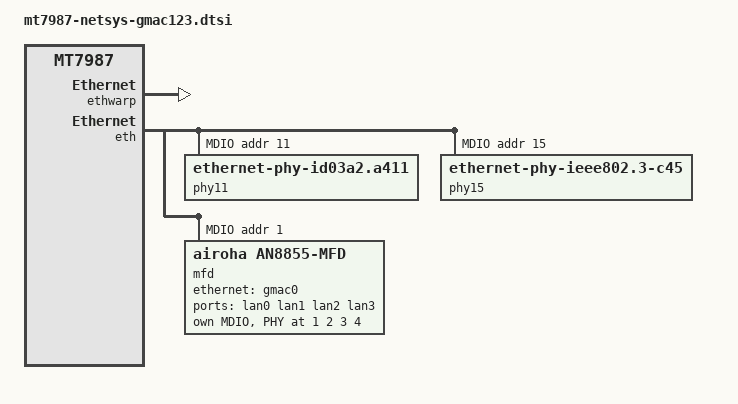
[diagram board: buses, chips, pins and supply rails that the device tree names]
// SPDX-License-Identifier: (GPL-2.0 OR MIT)

#include <dt-bindings/interrupt-controller/irq.h>
#include <dt-bindings/interrupt-controller/arm-gic.h>
#include <dt-bindings/phy/phy.h>
#include <dt-bindings/reset/ti-syscon.h>
#include <dt-bindings/clock/mediatek,mt7987-clk.h>
#include <dt-bindings/pinctrl/mt65xx.h>

&netsys {
	ethwarp: syscon@15031000 {
		compatible = "mediatek,mt7988-ethwarp", "syscon";
		reg = <0 0x15031000 0 0x1000>;
		#clock-cells = <1>;
	};

	eth: ethernet@15100000 {
		compatible = "mediatek,mt7987-eth";
		reg = <0 0x15100000 0 0x80000>,
		      <0 0x15400000 0 0x20000>;
		interrupts = <GIC_SPI 189 IRQ_TYPE_LEVEL_HIGH>,
			     <GIC_SPI 190 IRQ_TYPE_LEVEL_HIGH>,
			     <GIC_SPI 191 IRQ_TYPE_LEVEL_HIGH>,
			     <GIC_SPI 192 IRQ_TYPE_LEVEL_HIGH>,
			     <GIC_SPI 196 IRQ_TYPE_LEVEL_HIGH>,
			     <GIC_SPI 197 IRQ_TYPE_LEVEL_HIGH>,
			     <GIC_SPI 198 IRQ_TYPE_LEVEL_HIGH>,
			     <GIC_SPI 199 IRQ_TYPE_LEVEL_HIGH>;
		clocks = <&ethsys CLK_ETHDMA_FE_EN>,
			 <&ethsys CLK_ETHDMA_GP2_EN>,
			 <&ethsys CLK_ETHDMA_GP1_EN>,
			 <&ethsys CLK_ETHDMA_GP3_EN>,
			 <&sgmiisys0 CLK_SGM0_TX_EN>,
			 <&sgmiisys0 CLK_SGM0_RX_EN>,
			 <&sgmiisys1 CLK_SGM1_TX_EN>,
			 <&sgmiisys1 CLK_SGM1_RX_EN>,
			 <&topckgen CLK_TOP_SGM_0_SEL>,
			 <&topckgen CLK_TOP_SGM_1_SEL>,
			 <&topckgen CLK_TOP_ETH_GMII_SEL>,
			 <&topckgen CLK_TOP_ETH_REFCK_50M_SEL>,
			 <&topckgen CLK_TOP_ETH_SYS_200M_SEL>,
			 <&topckgen CLK_TOP_ETH_SYS_SEL>,
			 <&topckgen CLK_TOP_ETH_XGMII_SEL>,
			 <&topckgen CLK_TOP_ETH_MII_SEL>,
			 <&topckgen CLK_TOP_NETSYS_SEL>,
			 <&topckgen CLK_TOP_NETSYS_500M_SEL>,
			 <&topckgen CLK_TOP_NETSYS_2X_SEL>;
		clock-names = "fe", "gp2", "gp1", "gp3", "sgmii_tx250m",
			      "sgmii_rx250m", "sgmii2_tx250m", "sgmii2_rx250m",
			      "top_sgm0_sel", "top_sgm1_sel",
			      "top_eth_gmii_sel", "top_eth_refck_50m_sel",
			      "top_eth_sys_200m_sel", "top_eth_sys_sel",
			      "top_eth_xgmii_sel", "top_eth_mii_sel",
			      "top_netsys_sel", "top_netsys_500m_sel",
			      "top_netsys_pao_2x_sel";
		assigned-clocks = <&topckgen CLK_TOP_NETSYS_2X_SEL>,
				  <&topckgen CLK_TOP_SGM_0_SEL>,
				  <&topckgen CLK_TOP_SGM_1_SEL>;
		assigned-clock-parents = <&apmixedsys CLK_APMIXED_NET2PLL>,
					 <&apmixedsys CLK_APMIXED_SGMPLL>,
					 <&apmixedsys CLK_APMIXED_SGMPLL>;
		mediatek,ethsys = <&ethsys>;
		mediatek,sgmiisys = <&sgmiisys0>, <&sgmiisys1>;
		mediatek,infracfg = <&topmisc>;
		mediatek,toprgu = <&watchdog>;
		pinctrl-names = "default";
		pinctrl-0 = <&mdio0_pins>;
		#reset-cells = <1>;
		#address-cells = <1>;
		#size-cells = <0>;
		status = "disabled";

		gmac0: mac@0 {
			compatible = "mediatek,eth-mac";
			reg = <0>;
			mac-type = "gdm";
			phy-mode = "2500base-x";

			fixed-link {
				speed = <2500>;
				full-duplex;
				pause;
			};
		};

		gmac1: mac@1 {
			compatible = "mediatek,eth-mac";
			reg = <1>;
			mac-type = "xgdm";
			phy-mode = "internal";
			phy-handle = <&phy15>;
		};

		gmac2: mac@2 {
			compatible = "mediatek,eth-mac";
			reg = <2>;
			mac-type = "gdm";
			phy-mode = "2500base-x";
			phy-handle = <&phy11>;
		};

		mdio: mdio-bus {
			#address-cells = <1>;
			#size-cells = <0>;
			reset-gpios = <&pio 48 1>;
			reset-delay-us = <10000>;

			phy11: phy@11 {
				compatible = "ethernet-phy-id03a2.a411";
				reg = <11>;
				phy-mode = "2500base-x";
				airoha,polarity = <1>;
				airoha,surge = <0>;
				airoha,phy-handle;
			};

			phy15: phy@15 {
				pinctrl-names = "i2p5gbe-led";
				pinctrl-0 = <&i2p5gbe_led0_pins>;
				compatible = "ethernet-phy-ieee802.3-c45";
				reg = <15>;
				phy-mode = "internal";
			};

			mfd: mfd@1 {
				compatible = "airoha,an8855-mfd";
				reg = <1>;
			};
		};
	};

	hnat: hnat@15000000 {
		compatible = "mediatek,mtk-hnat_v5";
		reg = <0 0x15100000 0 0x80000>;
		interrupts = <GIC_SPI 198 IRQ_TYPE_LEVEL_HIGH>;
		resets = <&ethsys 0>;
		reset-names = "mtketh";
		status = "disabled";
	};

	crypto: crypto@15600000 {
		compatible = "inside-secure,safexcel-eip197b",
			     "security-ip-197-srv";
		reg = <0 0x15600000 0 0x180000>;
		interrupts = <GIC_SPI 214 IRQ_TYPE_LEVEL_HIGH>,
			     <GIC_SPI 215 IRQ_TYPE_LEVEL_HIGH>,
			     <GIC_SPI 216 IRQ_TYPE_LEVEL_HIGH>,
			     <GIC_SPI 217 IRQ_TYPE_LEVEL_HIGH>;
		interrupt-names = "ring0", "ring1", "ring2", "ring3";
		eth = <&eth>;
		status = "disabled";
	};
};

&crypto {
	status = "okay";
};

&eth {
	status = "okay";
};

&hnat {
	mtketh-wan = "eth1";
	mtketh-lan = "lan";
	mtketh-lan2 = "eth2";
	mtketh-max-gmac = <3>;
	mtketh-ppe-num = <1>;
	status = "okay";
};

&mfd {
	efuse {
		compatible = "airoha,an8855-efuse";
		#nvmem-cell-cells = <0>;

		nvmem-layout {
			compatible = "fixed-layout";
			#address-cells = <1>;
			#size-cells = <1>;

			shift_sel_port0_tx_a: shift-sel-port0-tx-a@c {
				reg = <0xc 0x4>;
			};

			shift_sel_port0_tx_b: shift-sel-port0-tx-b@10 {
				reg = <0x10 0x4>;
			};

			shift_sel_port0_tx_c: shift-sel-port0-tx-c@14 {
				reg = <0x14 0x4>;
			};

			shift_sel_port0_tx_d: shift-sel-port0-tx-d@18 {
				reg = <0x18 0x4>;
			};

			shift_sel_port1_tx_a: shift-sel-port1-tx-a@1c {
				reg = <0x1c 0x4>;
			};

			shift_sel_port1_tx_b: shift-sel-port1-tx-b@20 {
				reg = <0x20 0x4>;
			};

			shift_sel_port1_tx_c: shift-sel-port1-tx-c@24 {
				reg = <0x24 0x4>;
			};

			shift_sel_port1_tx_d: shift-sel-port1-tx-d@28 {
				reg = <0x28 0x4>;
			};

			shift_sel_port2_tx_a: shift-sel-port2-tx-a@2c {
				reg = <0x2c 0x4>;
			};

			shift_sel_port2_tx_b: shift-sel-port2-tx-b@30 {
				reg = <0x30 0x4>;
			};

			shift_sel_port2_tx_c: shift-sel-port2-tx-c@34 {
				reg = <0x34 0x4>;
			};

			shift_sel_port2_tx_d: shift-sel-port2-tx-d@38 {
				reg = <0x38 0x4>;
			};

			shift_sel_port3_tx_a: shift-sel-port3-tx-a@4c {
				reg = <0x4c 0x4>;
			};

			shift_sel_port3_tx_b: shift-sel-port3-tx-b@50 {
				reg = <0x50 0x4>;
			};

			shift_sel_port3_tx_c: shift-sel-port3-tx-c@54 {
				reg = <0x54 0x4>;
			};

			shift_sel_port3_tx_d: shift-sel-port3-tx-d@58 {
				reg = <0x58 0x4>;
			};
		};
	};

	ethernet-switch {
		compatible = "airoha,an8855-switch";
		reset-gpios = <&pio 42 GPIO_ACTIVE_HIGH>;
		airoha,ext-surge;

		ports {
			#address-cells = <1>;
			#size-cells = <0>;

			port@0 {
				reg = <0>;
				label = "lan0";
				phy-mode = "internal";
				phy-handle = <&internal_phy1>;
			};

			port@1 {
				reg = <1>;
				label = "lan1";
				phy-mode = "internal";
				phy-handle = <&internal_phy2>;
			};

			port@2 {
				reg = <2>;
				label = "lan2";
				phy-mode = "internal";
				phy-handle = <&internal_phy3>;
			};

			port@3 {
				reg = <3>;
				label = "lan3";
				phy-mode = "internal";
				phy-handle = <&internal_phy4>;
			};

			port@5 {
				reg = <5>;
				ethernet = <&gmac0>;
				phy-mode = "2500base-x";

				fixed-link {
					speed = <2500>;
					full-duplex;
					pause;
				};
			};
		};
	};

	mdio {
		compatible = "airoha,an8855-mdio";
		#address-cells = <1>;
		#size-cells = <0>;

		internal_phy1: phy@1 {
			reg = <1>;

			nvmem-cells = <&shift_sel_port0_tx_a>,
					<&shift_sel_port0_tx_b>,
					<&shift_sel_port0_tx_c>,
					<&shift_sel_port0_tx_d>;
			nvmem-cell-names = "tx_a", "tx_b", "tx_c", "tx_d";
		};

		internal_phy2: phy@2 {
			reg = <2>;

			nvmem-cells = <&shift_sel_port1_tx_a>,
					<&shift_sel_port1_tx_b>,
					<&shift_sel_port1_tx_c>,
					<&shift_sel_port1_tx_d>;
			nvmem-cell-names = "tx_a", "tx_b", "tx_c", "tx_d";
		};

		internal_phy3: phy@3 {
			reg = <3>;

			nvmem-cells = <&shift_sel_port2_tx_a>,
					<&shift_sel_port2_tx_b>,
					<&shift_sel_port2_tx_c>,
					<&shift_sel_port2_tx_d>;
			nvmem-cell-names = "tx_a", "tx_b", "tx_c", "tx_d";
		};

		internal_phy4: phy@4 {
			reg = <4>;

			nvmem-cells = <&shift_sel_port3_tx_a>,
					<&shift_sel_port3_tx_b>,
					<&shift_sel_port3_tx_c>,
					<&shift_sel_port3_tx_d>;
			nvmem-cell-names = "tx_a", "tx_b", "tx_c", "tx_d";
		};
	};
};
